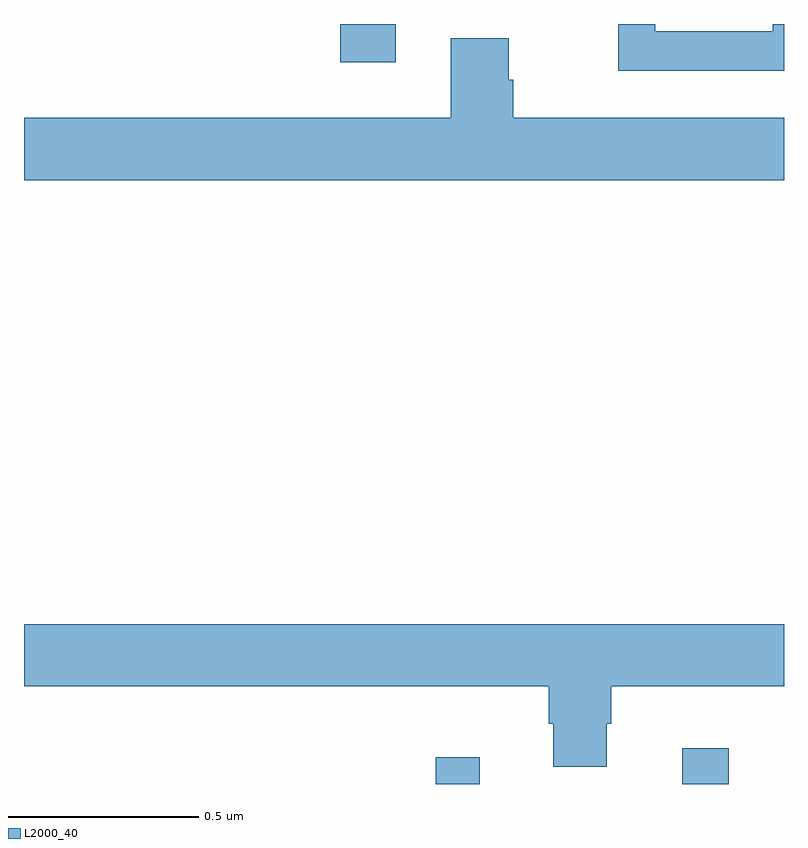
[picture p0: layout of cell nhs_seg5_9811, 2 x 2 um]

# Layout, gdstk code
import gdstk
lib = gdstk.Library(unit=1e-6, precision=1e-09)
def R(c, l, rs):  # rectangles x0, y0, x1, y1
    for r in rs: c.add(gdstk.rectangle(r[:2], r[2:], *l))
def P(c, l, *ps):  # polygons
    for p in ps: c.add(gdstk.Polygon(p, *l))
L2000_40 = (2000, 40)

nhs_seg5_9811 = lib.new_cell('nhs_seg5_9811')
R(nhs_seg5_9811, L2000_40, [(239.083,893.799,239.199,893.869), (239.732,893.799,239.854,893.893), (238.832,895.698,238.978,895.799)])
P(nhs_seg5_9811, L2000_40, [(240,895.799),(239.97,895.799),(239.97,895.78),(239.661,895.78),(239.661,895.799),(239.564,895.799),(239.564,895.676),(240,895.676)],
  [(240,895.552),(239.288,895.552),(239.288,895.652),(239.275,895.652),(239.275,895.761),(239.123,895.761),(239.123,895.552),(238,895.552),(238,895.388),(240,895.388)],
  [(239.533,893.958),(239.546,893.958),(239.546,894.056),(240,894.056),(240,894.22),(238,894.22),(238,894.056),(239.381,894.056),(239.381,893.958),(239.393,893.958),(239.393,893.844),(239.533,893.844)])

lib.write_gds('nhs_seg5_9811.gds')
